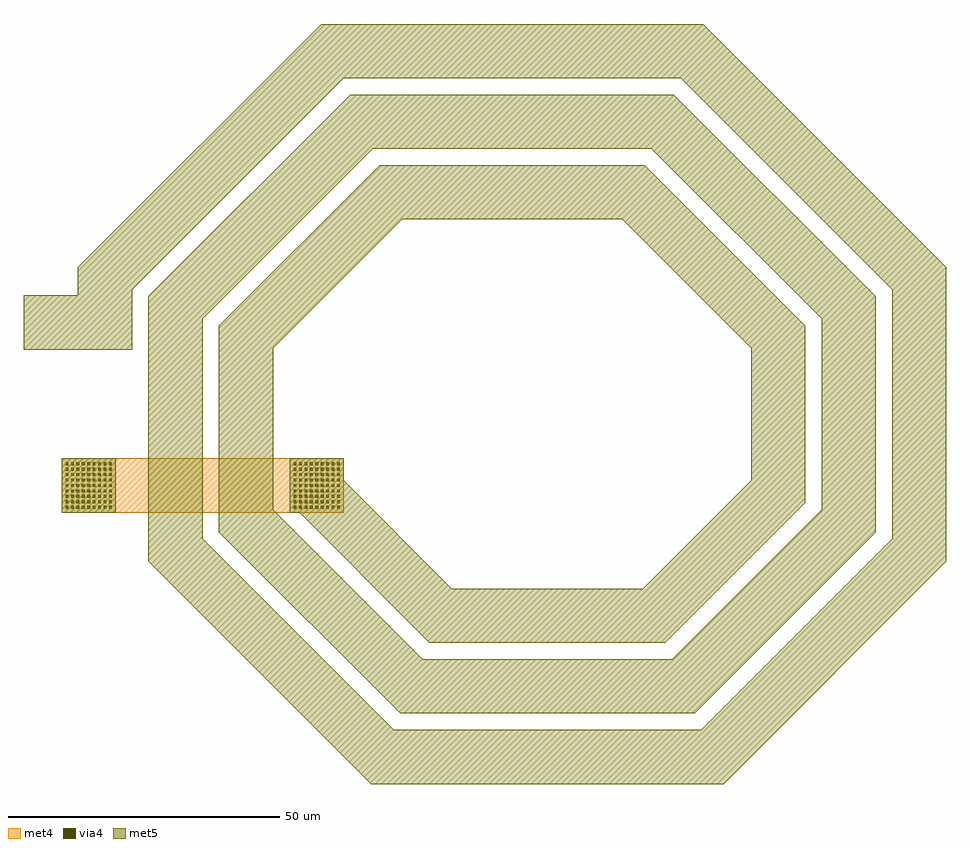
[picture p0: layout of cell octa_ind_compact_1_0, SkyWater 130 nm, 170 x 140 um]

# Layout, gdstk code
import gdstk
lib = gdstk.Library(unit=1e-6, precision=1e-09)
def R(c, l, rs):  # rectangles x0, y0, x1, y1
    for r in rs: c.add(gdstk.rectangle(r[:2], r[2:], *l))
def A(c, l, x, y, w, h, nx, ny, dx, dy):  # array of equal rectangles
    R(c, l, [(x+i*dx, y+j*dy, x+i*dx+w, y+j*dy+h) for i in range(nx) for j in range(ny)])
def P(c, l, *ps):  # polygons
    for p in ps: c.add(gdstk.Polygon(p, *l))
met4 = (71, 20)
via4 = (71, 44)
met5 = (72, 20)

octa_ind_compact_1_0 = lib.new_cell('octa_ind_compact_1_0')
R(octa_ind_compact_1_0, met4, [(-89.5,-20,-37.5,-10), (-89.5,-20,-79.5,-10), (-47.5,-20,-37.5,-10)])
A(octa_ind_compact_1_0, via4, -88.75, -19.25, 0.5, 0.5, 9, 9, 1, 1)
A(octa_ind_compact_1_0, via4, -46.75, -19.25, 0.5, 0.5, 9, 9, 1, 1)
R(octa_ind_compact_1_0, met5, [(-89.5,-20,-79.5,-10), (-47.5,-20,-37.5,-10), (-96.5,10,-76.5,20)])
P(octa_ind_compact_1_0, met5, [(-37.5,-10),(-37.5,-14.085),(-17.585,-34),(17.585,-34),(37.5,-14.085),(37.5,10.275),(13.775,34),(-26.775,34),(-50.5,10.275),(-50.5,-19.47),(-22.97,-47),(22.97,-47),(50.5,-19.47),(50.5,15.66),(19.16,47),(-32.16,47),(-63.5,15.66),(-63.5,-24.855),(-28.355,-60),(28.355,-60),(63.5,-24.855),(63.5,21.045),(24.545,60),(-37.545,60),(-76.5,21.045),(-76.5,10),(-86.5,10),(-86.5,25.185),(-41.685,70),(28.685,70),(73.5,25.185),(73.5,-28.995),(32.495,-70),(-32.495,-70),(-73.5,-28.995),(-73.5,19.805),(-36.305,57),(23.305,57),(60.5,19.805),(60.5,-23.61),(27.11,-57),(-27.11,-57),(-60.5,-23.61),(-60.5,14.42),(-30.92,44),(17.92,44),(47.5,14.42),(47.5,-18.225),(21.725,-44),(-21.725,-44),(-47.5,-18.225),(-47.5,-10)])

lib.write_gds('octa_ind_compact_1_0.gds')
